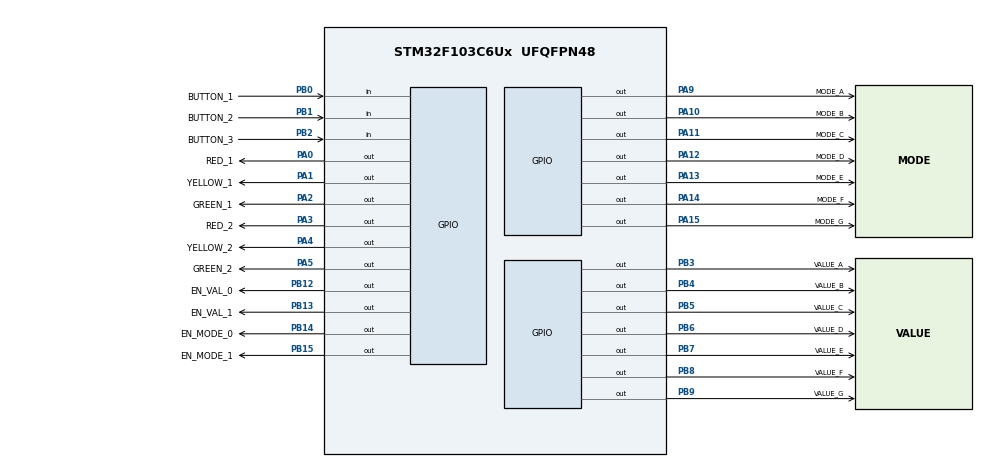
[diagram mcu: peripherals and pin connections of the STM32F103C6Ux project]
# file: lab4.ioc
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Mcu.Family=STM32F1
Mcu.Name=STM32F103C6Ux
Mcu.Package=UFQFPN48
NVIC.PriorityGroup=NVIC_PRIORITYGROUP_4
NVIC.TIM2_IRQn=true\:0\:0\:false\:false\:true\:true\:true\:true
PA0-WKUP.GPIO_Label=RED_1
PA0-WKUP.Signal=GPIO_Output
PA1.GPIO_Label=YELLOW_1
PA1.Signal=GPIO_Output
PA10.GPIO_Label=MODE_B
PA10.Signal=GPIO_Output
PA11.GPIO_Label=MODE_C
PA11.Signal=GPIO_Output
PA12.GPIO_Label=MODE_D
PA12.Signal=GPIO_Output
PA13.GPIO_Label=MODE_E
PA13.Signal=GPIO_Output
PA14.GPIO_Label=MODE_F
PA14.Signal=GPIO_Output
PA15.GPIO_Label=MODE_G
PA15.Signal=GPIO_Output
PA2.GPIO_Label=GREEN_1
PA2.Signal=GPIO_Output
PA3.GPIO_Label=RED_2
PA3.Signal=GPIO_Output
PA4.GPIO_Label=YELLOW_2
PA4.Signal=GPIO_Output
PA5.GPIO_Label=GREEN_2
PA5.Signal=GPIO_Output
PA9.GPIO_Label=MODE_A
PA9.Signal=GPIO_Output
PB0.GPIO_Label=BUTTON_1
PB0.Signal=GPIO_Input
PB1.GPIO_Label=BUTTON_2
PB1.Signal=GPIO_Input
PB12.GPIO_Label=EN_VAL_0
PB12.Signal=GPIO_Output
PB13.GPIO_Label=EN_VAL_1
PB13.Signal=GPIO_Output
PB14.GPIO_Label=EN_MODE_0
PB14.Signal=GPIO_Output
PB15.GPIO_Label=EN_MODE_1
PB15.Signal=GPIO_Output
PB2.GPIO_Label=BUTTON_3
PB2.Signal=GPIO_Input
PB3.GPIO_Label=VALUE_A
PB3.Signal=GPIO_Output
PB4.GPIO_Label=VALUE_B
PB4.Signal=GPIO_Output
PB5.GPIO_Label=VALUE_C
PB5.Signal=GPIO_Output
PB6.GPIO_Label=VALUE_D
PB6.Signal=GPIO_Output
PB7.GPIO_Label=VALUE_E
PB7.Signal=GPIO_Output
PB8.GPIO_Label=VALUE_F
PB8.Signal=GPIO_Output
PB9.GPIO_Label=VALUE_G
PB9.Signal=GPIO_Output
ProjectManager.HeapSize=0x200
ProjectManager.StackSize=0x400
ProjectManager.TargetToolchain=STM32CubeIDE
RCC.APB1Freq_Value=8000000
RCC.APB2Freq_Value=8000000
TIM2.Period=9
TIM2.Prescaler=7999
VP_SYS_VS_ND.Mode=No_Debug
VP_TIM2_VS_ClockSourceINT.Mode=Internal
board=custom

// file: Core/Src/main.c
/* USER CODE BEGIN Header */
/**
  ******************************************************************************
  * @file           : main.c
  * @brief          : Main program body
  ******************************************************************************
  * @attention
  *
  * <h2><center>&copy; Copyright (c) 2024 STMicroelectronics.
  * All rights reserved.</center></h2>
  *
  * This software component is licensed by ST under BSD 3-Clause license,
  * the "License"; You may not use this file except in compliance with the
  * License. You may obtain a copy of the License at:
  *                        opensource.org/licenses/BSD-3-Clause
  *
  ******************************************************************************
  */
/* USER CODE END Header */
#include "main.h"

/* USER CODE BEGIN Includes */
#include "global.h"
#include "timer.h"
#include "button.h"
#include "normal_mode.h"
#include "traffic_process.h"
#include "traffic_led.h"
#include "led_display.h"
#include "scheduler.h"
/* USER CODE END Includes */

TIM_HandleTypeDef htim2;

void SystemClock_Config(void);
static void MX_GPIO_Init(void);
static void MX_TIM2_Init(void);

int main(void)
{

  /* MCU Configuration--------------------------------------------------------*/

  /* Reset of all peripherals, Initializes the Flash interface and the Systick. */
  HAL_Init();

  /* Configure the system clock */
  SystemClock_Config();

  /* Initialize all configured peripherals */
  MX_GPIO_Init();
  MX_TIM2_Init();
  /* USER CODE BEGIN 2 */
  HAL_TIM_Base_Start_IT(&htim2);
  /* USER CODE END 2 */

  /* Infinite loop */
  /* USER CODE BEGIN WHILE */
  initValues();
  SCH_Init();
  SCH_Add_Task(timeRun, 0, 1);
  SCH_Add_Task(getKeyInput, 0, 1);
  SCH_Add_Task(trafficRun, 0, 1);
  while (1)
  {
	  SCH_Dispatch_Tasks();
	  //normalMode();
    /* USER CODE END WHILE */

  }
}

void SystemClock_Config(void)
{
  RCC_OscInitTypeDef RCC_OscInitStruct = {0};
  RCC_ClkInitTypeDef RCC_ClkInitStruct = {0};

  /** Initializes the RCC Oscillators according to the specified parameters
  * in the RCC_OscInitTypeDef structure.
  */
  RCC_OscInitStruct.OscillatorType = RCC_OSCILLATORTYPE_HSI;
  RCC_OscInitStruct.HSIState = RCC_HSI_ON;
  RCC_OscInitStruct.HSICalibrationValue = RCC_HSICALIBRATION_DEFAULT;
  RCC_OscInitStruct.PLL.PLLState = RCC_PLL_NONE;
  if (HAL_RCC_OscConfig(&RCC_OscInitStruct) != HAL_OK)
  {
    Error_Handler();
  }

  /** Initializes the CPU, AHB and APB buses clocks
  */
  RCC_ClkInitStruct.ClockType = RCC_CLOCKTYPE_HCLK|RCC_CLOCKTYPE_SYSCLK
                              |RCC_CLOCKTYPE_PCLK1|RCC_CLOCKTYPE_PCLK2;
  RCC_ClkInitStruct.SYSCLKSource = RCC_SYSCLKSOURCE_HSI;
  RCC_ClkInitStruct.AHBCLKDivider = RCC_SYSCLK_DIV1;
  RCC_ClkInitStruct.APB1CLKDivider = RCC_HCLK_DIV1;
  RCC_ClkInitStruct.APB2CLKDivider = RCC_HCLK_DIV1;

  if (HAL_RCC_ClockConfig(&RCC_ClkInitStruct, FLASH_LATENCY_0) != HAL_OK)
  {
    Error_Handler();
  }
}

static void MX_TIM2_Init(void)
{

  TIM_ClockConfigTypeDef sClockSourceConfig = {0};
  TIM_MasterConfigTypeDef sMasterConfig = {0};

  htim2.Instance = TIM2;
  htim2.Init.Prescaler = 7999;
  htim2.Init.CounterMode = TIM_COUNTERMODE_UP;
  htim2.Init.Period = 9;
  htim2.Init.ClockDivision = TIM_CLOCKDIVISION_DIV1;
  htim2.Init.AutoReloadPreload = TIM_AUTORELOAD_PRELOAD_DISABLE;
  if (HAL_TIM_Base_Init(&htim2) != HAL_OK)
  {
    Error_Handler();
  }
  sClockSourceConfig.ClockSource = TIM_CLOCKSOURCE_INTERNAL;
  if (HAL_TIM_ConfigClockSource(&htim2, &sClockSourceConfig) != HAL_OK)
  {
    Error_Handler();
  }
  sMasterConfig.MasterOutputTrigger = TIM_TRGO_RESET;
  sMasterConfig.MasterSlaveMode = TIM_MASTERSLAVEMODE_DISABLE;
  if (HAL_TIMEx_MasterConfigSynchronization(&htim2, &sMasterConfig) != HAL_OK)
  {
    Error_Handler();
  }

}

static void MX_GPIO_Init(void)
{
  GPIO_InitTypeDef GPIO_InitStruct = {0};

  /* GPIO Ports Clock Enable */
  __HAL_RCC_GPIOA_CLK_ENABLE();
  __HAL_RCC_GPIOB_CLK_ENABLE();

  /*Configure GPIO pin Output Level */
  HAL_GPIO_WritePin(GPIOA, RED_1_Pin|YELLOW_1_Pin|GREEN_1_Pin|RED_2_Pin
                          |YELLOW_2_Pin|GREEN_2_Pin|MODE_A_Pin|MODE_B_Pin
                          |MODE_C_Pin|MODE_D_Pin|MODE_E_Pin|MODE_F_Pin
                          |MODE_G_Pin, GPIO_PIN_RESET);

  /*Configure GPIO pin Output Level */
  HAL_GPIO_WritePin(GPIOB, EN_VAL_0_Pin|EN_VAL_1_Pin|EN_MODE_0_Pin|EN_MODE_1_Pin
                          |VALUE_A_Pin|VALUE_B_Pin|VALUE_C_Pin|VALUE_D_Pin
                          |VALUE_E_Pin|VALUE_F_Pin|VALUE_G_Pin, GPIO_PIN_RESET);

  /*Configure GPIO pins : RED_1_Pin YELLOW_1_Pin GREEN_1_Pin RED_2_Pin
                           YELLOW_2_Pin GREEN_2_Pin MODE_A_Pin MODE_B_Pin
                           MODE_C_Pin MODE_D_Pin MODE_E_Pin MODE_F_Pin
                           MODE_G_Pin */
  GPIO_InitStruct.Pin = RED_1_Pin|YELLOW_1_Pin|GREEN_1_Pin|RED_2_Pin
                          |YELLOW_2_Pin|GREEN_2_Pin|MODE_A_Pin|MODE_B_Pin
                          |MODE_C_Pin|MODE_D_Pin|MODE_E_Pin|MODE_F_Pin
                          |MODE_G_Pin;
  GPIO_InitStruct.Mode = GPIO_MODE_OUTPUT_PP;
  GPIO_InitStruct.Pull = GPIO_NOPULL;
  GPIO_InitStruct.Speed = GPIO_SPEED_FREQ_LOW;
  HAL_GPIO_Init(GPIOA, &GPIO_InitStruct);

  /*Configure GPIO pins : BUTTON_1_Pin BUTTON_2_Pin BUTTON_3_Pin */
  GPIO_InitStruct.Pin = BUTTON_1_Pin|BUTTON_2_Pin|BUTTON_3_Pin;
  GPIO_InitStruct.Mode = GPIO_MODE_INPUT;
  GPIO_InitStruct.Pull = GPIO_NOPULL;
  HAL_GPIO_Init(GPIOB, &GPIO_InitStruct);

  /*Configure GPIO pins : EN_VAL_0_Pin EN_VAL_1_Pin EN_MODE_0_Pin EN_MODE_1_Pin
                           VALUE_A_Pin VALUE_B_Pin VALUE_C_Pin VALUE_D_Pin
                           VALUE_E_Pin VALUE_F_Pin VALUE_G_Pin */
  GPIO_InitStruct.Pin = EN_VAL_0_Pin|EN_VAL_1_Pin|EN_MODE_0_Pin|EN_MODE_1_Pin
                          |VALUE_A_Pin|VALUE_B_Pin|VALUE_C_Pin|VALUE_D_Pin
                          |VALUE_E_Pin|VALUE_F_Pin|VALUE_G_Pin;
  GPIO_InitStruct.Mode = GPIO_MODE_OUTPUT_PP;
  GPIO_InitStruct.Pull = GPIO_NOPULL;
  GPIO_InitStruct.Speed = GPIO_SPEED_FREQ_LOW;
  HAL_GPIO_Init(GPIOB, &GPIO_InitStruct);

}

/* USER CODE BEGIN 4 */
void HAL_TIM_PeriodElapsedCallback ( TIM_HandleTypeDef * htim )
{
	SCH_Update();

}
/* USER CODE END 4 */

void Error_Handler(void)
{
  __disable_irq();
  while (1)
  {
  }
}
